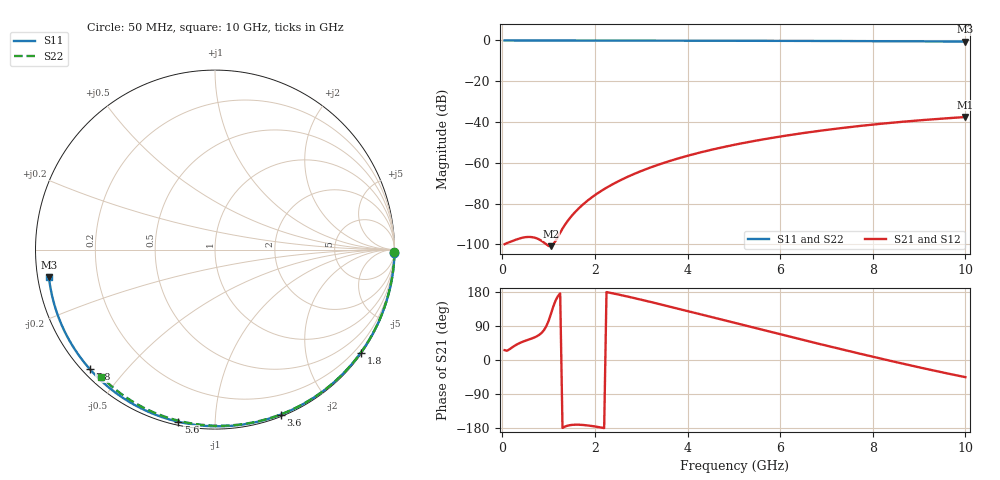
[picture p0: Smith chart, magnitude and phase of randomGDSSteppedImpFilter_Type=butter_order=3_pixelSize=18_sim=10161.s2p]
! freq	dB(S11)	phase(S11)	dB(S12)	phase(S12)
!  dB(S21)	phase(S21)	dB(S22)	phase(S22)
!S-par simulation data
#  GHz  S  DB  R 50
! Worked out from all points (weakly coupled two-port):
!   200 points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, 50 MHz to 10 GHz, reference 50 ohm
!   highest |S21| = -37.57 dB at 10 GHz (marker M1); lowest = -100.9 dB at 1.05 GHz (marker M2)
!   lowest |S11| = -0.6 dB at 10 GHz (marker M3), VSWR 31.25, Z = 1.61 - j4.12 ohm
!   |S11| at or under -10 dB: nowhere
!   |S22| runs from -0.4 to 0.0 dB; largest |S21 - S12| = 0
!   S11 on the Smith chart (normalised r, x): 50 MHz: open; 1.8 GHz: 0.03, -3.15; 3.6 GHz: 0.02, -1.47; 5.6 GHz: 0.02, -0.81; 7.8 GHz: 0.02, -0.40; 10 GHz: 0.03, -0.08
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0.05  -0.00 -1.0  -99.96 25.9  -99.96 25.9  -0.00 -0.8
0.55  -0.01 -10.9  -96.40 53.1  -96.40 53.1  -0.01 -8.4
1.05  -0.03 -20.8  -100.92 121.5  -100.92 121.5  -0.02 -15.9
1.75  -0.04 -34.3  -80.30 -171.5  -80.30 -171.5  -0.03 -26.3
1.8  -0.04 -35.2  -79.33 -172.1  -79.33 -172.1  -0.03 -27.0
1.95  -0.05 -38.1  -76.68 -174.4  -76.68 -174.4  -0.04 -29.2
2.1  -0.05 -40.9  -74.34 -177.4  -74.34 -177.4  -0.04 -31.4
2.3  -0.06 -44.7  -71.58 178.0  -71.58 178.0  -0.04 -34.3
2.5  -0.06 -48.4  -69.14 173.0  -69.14 173.0  -0.05 -37.2
2.9  -0.07 -55.8  -64.97 162.0  -64.97 162.0  -0.06 -43.0
3.4  -0.09 -64.8  -60.72 147.3  -60.72 147.3  -0.07 -50.1
3.6  -0.09 -68.3  -59.24 141.3  -59.24 141.3  -0.07 -52.8
4.3  -0.11 -80.5  -54.80 119.8  -54.80 119.8  -0.09 -62.5
5.05  -0.14 -93.1  -51.00 96.7  -51.00 96.7  -0.11 -72.4
5.6  -0.17 -102.0  -48.66 79.9  -48.66 79.9  -0.13 -79.6
6.15  -0.20 -110.8  -46.61 63.3  -46.61 63.3  -0.15 -86.5
6.7  -0.23 -119.4  -44.79 46.8  -44.79 46.8  -0.18 -93.4
7.25  -0.27 -127.9  -43.18 30.5  -43.18 30.5  -0.21 -100.0
7.8  -0.32 -136.4  -41.75 14.4  -41.75 14.4  -0.25 -106.6
8.35  -0.37 -144.8  -40.49 -1.3  -40.49 -1.3  -0.29 -113.0
9.2  -0.46 -157.9  -38.84 -24.7  -38.84 -24.7  -0.36 -122.8
10  -0.56 -170.6  -37.57 -45.3  -37.57 -45.3  -0.45 -131.9
